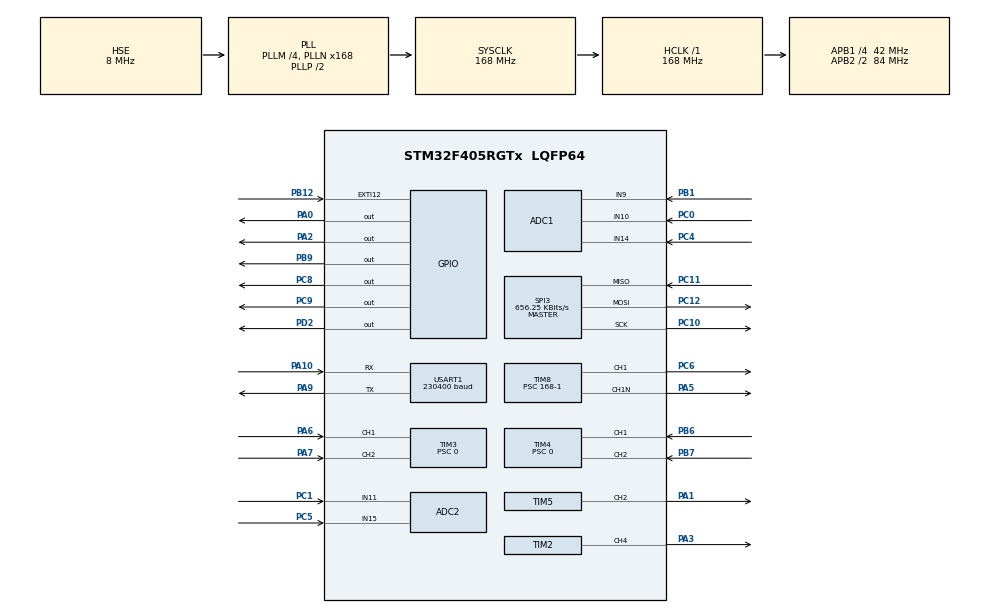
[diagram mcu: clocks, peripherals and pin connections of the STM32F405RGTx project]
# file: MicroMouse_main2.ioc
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ADC1.Channel-0\#ChannelRegularConversion=ADC_CHANNEL_10
ADC1.Channel-1\#ChannelRegularConversion=ADC_CHANNEL_14
ADC1.Channel-2\#ChannelRegularConversion=ADC_CHANNEL_9
ADC1.ClockPrescaler=ADC_CLOCK_SYNC_PCLK_DIV6
ADC1.ContinuousConvMode=ENABLE
ADC1.DMAContinuousRequests=ENABLE
ADC1.NbrOfConversion=3
ADC1.NbrOfConversionFlag=1
ADC1.Rank-0\#ChannelRegularConversion=1
ADC1.Rank-1\#ChannelRegularConversion=2
ADC1.Rank-2\#ChannelRegularConversion=3
ADC1.SamplingTime-0\#ChannelRegularConversion=ADC_SAMPLETIME_56CYCLES
ADC1.SamplingTime-1\#ChannelRegularConversion=ADC_SAMPLETIME_56CYCLES
ADC1.SamplingTime-2\#ChannelRegularConversion=ADC_SAMPLETIME_56CYCLES
ADC1.ScanConvMode=ENABLE
ADC1.master=1
ADC2.Channel-0\#ChannelRegularConversion=ADC_CHANNEL_11
ADC2.Channel-1\#ChannelRegularConversion=ADC_CHANNEL_15
ADC2.ClockPrescaler=ADC_CLOCK_SYNC_PCLK_DIV6
ADC2.ContinuousConvMode=ENABLE
ADC2.DMAContinuousRequests=ENABLE
ADC2.NbrOfConversion=2
ADC2.NbrOfConversionFlag=1
ADC2.Rank-0\#ChannelRegularConversion=1
ADC2.Rank-1\#ChannelRegularConversion=2
ADC2.SamplingTime-0\#ChannelRegularConversion=ADC_SAMPLETIME_56CYCLES
ADC2.SamplingTime-1\#ChannelRegularConversion=ADC_SAMPLETIME_56CYCLES
ADC2.ScanConvMode=ENABLE
Dma.ADC1.0.Direction=DMA_PERIPH_TO_MEMORY
Dma.ADC1.0.FIFOMode=DMA_FIFOMODE_DISABLE
Dma.ADC1.0.Instance=DMA2_Stream0
Dma.ADC1.0.MemDataAlignment=DMA_MDATAALIGN_WORD
Dma.ADC1.0.MemInc=DMA_MINC_ENABLE
Dma.ADC1.0.Mode=DMA_CIRCULAR
Dma.ADC1.0.PeriphDataAlignment=DMA_PDATAALIGN_WORD
Dma.ADC1.0.PeriphInc=DMA_PINC_DISABLE
Dma.ADC1.0.Priority=DMA_PRIORITY_LOW
Dma.ADC2.1.Direction=DMA_PERIPH_TO_MEMORY
Dma.ADC2.1.FIFOMode=DMA_FIFOMODE_DISABLE
Dma.ADC2.1.Instance=DMA2_Stream2
Dma.ADC2.1.MemDataAlignment=DMA_MDATAALIGN_WORD
Dma.ADC2.1.MemInc=DMA_MINC_ENABLE
Dma.ADC2.1.Mode=DMA_CIRCULAR
Dma.ADC2.1.PeriphDataAlignment=DMA_PDATAALIGN_WORD
Dma.ADC2.1.PeriphInc=DMA_PINC_DISABLE
Dma.ADC2.1.Priority=DMA_PRIORITY_LOW
Dma.Request0=ADC1
Dma.Request1=ADC2
Mcu.Family=STM32F4
Mcu.Name=STM32F405RGTx
Mcu.Package=LQFP64
NVIC.DMA2_Stream0_IRQn=true\:0\:0\:false\:false\:true\:false\:true\:true
NVIC.DMA2_Stream2_IRQn=true\:0\:0\:false\:false\:true\:false\:true\:true
NVIC.EXTI15_10_IRQn=true\:0\:0\:false\:false\:true\:true\:true\:true
NVIC.PriorityGroup=NVIC_PRIORITYGROUP_4
NVIC.TIM1_UP_TIM10_IRQn=true\:0\:0\:true\:false\:true\:true\:true\:true
NVIC.TIM8_UP_TIM13_IRQn=true\:1\:0\:true\:false\:true\:true\:true\:true
NVIC.USART1_IRQn=true\:0\:0\:false\:false\:true\:true\:true\:true
PA0-WKUP.Signal=GPIO_Output
PA1.Signal=S_TIM5_CH2
PA10.Mode=Asynchronous
PA10.Signal=USART1_RX
PA2.Signal=GPIO_Output
PA3.GPIO_Speed=GPIO_SPEED_FREQ_VERY_HIGH
PA3.Signal=S_TIM2_CH4
PA5.Mode=Output Compare1 CH1 CH1N
PA5.Signal=TIM8_CH1N
PA6.Signal=S_TIM3_CH1
PA7.Signal=S_TIM3_CH2
PA9.Mode=Asynchronous
PA9.Signal=USART1_TX
PB1.Signal=ADCx_IN9
PB12.Signal=GPXTI12
PB6.Signal=S_TIM4_CH1
PB7.Signal=S_TIM4_CH2
PB9.Signal=GPIO_Output
PC0.Signal=ADCx_IN10
PC1.Signal=ADCx_IN11
PC10.Mode=Full_Duplex_Master
PC10.Signal=SPI3_SCK
PC11.Mode=Full_Duplex_Master
PC11.Signal=SPI3_MISO
PC12.Mode=Full_Duplex_Master
PC12.Signal=SPI3_MOSI
PC4.Signal=ADCx_IN14
PC5.Signal=ADCx_IN15
PC6.Signal=S_TIM8_CH1
PC8.Signal=GPIO_Output
PC9.Signal=GPIO_Output
PD2.Signal=GPIO_Output
PH0-OSC_IN.Mode=HSE-External-Clock-Source
PH0-OSC_IN.Signal=RCC_OSC_IN
PH1-OSC_OUT.Mode=HSE-External-Clock-Source
PH1-OSC_OUT.Signal=RCC_OSC_OUT
ProjectManager.HeapSize=0x200
ProjectManager.StackSize=0x400
ProjectManager.TargetToolchain=Makefile
RCC.48MHZClocksFreq_Value=84000000
RCC.AHBFreq_Value=168000000
RCC.APB1CLKDivider=RCC_HCLK_DIV4
RCC.APB1Freq_Value=42000000
RCC.APB1TimFreq_Value=84000000
RCC.APB2CLKDivider=RCC_HCLK_DIV2
RCC.APB2Freq_Value=84000000
RCC.APB2TimFreq_Value=168000000
RCC.CortexFreq_Value=168000000
RCC.HCLKFreq_Value=168000000
RCC.HSE_VALUE=8000000
RCC.HSI_VALUE=16000000
RCC.LSE_VALUE=32768
RCC.PLLM=4
RCC.PLLN=168
RCC.PLLSourceVirtual=RCC_PLLSOURCE_HSE
RCC.SYSCLKFreq_VALUE=168000000
RCC.SYSCLKSource=RCC_SYSCLKSOURCE_PLLCLK
RCC.VCOOutputFreq_Value=336000000
SH.ADCx_IN10.0=ADC1_IN10,IN10
SH.ADCx_IN11.0=ADC2_IN11,IN11
SH.ADCx_IN14.0=ADC1_IN14,IN14
SH.ADCx_IN15.0=ADC2_IN15,IN15
SH.ADCx_IN9.0=ADC1_IN9,IN9
SH.S_TIM2_CH4.0=TIM2_CH4,PWM Generation4 CH4
SH.S_TIM3_CH1.0=TIM3_CH1,Encoder_Interface
SH.S_TIM3_CH2.0=TIM3_CH2,Encoder_Interface
SH.S_TIM4_CH1.0=TIM4_CH1,Encoder_Interface
SH.S_TIM4_CH2.0=TIM4_CH2,Encoder_Interface
SH.S_TIM5_CH2.0=TIM5_CH2,PWM Generation2 CH2
SH.S_TIM8_CH1.0=TIM8_CH1,Output Compare1 CH1 CH1N
SPI3.BaudRatePrescaler=SPI_BAUDRATEPRESCALER_64
SPI3.CLKPhase=SPI_PHASE_2EDGE
SPI3.CLKPolarity=SPI_POLARITY_HIGH
SPI3.CalculateBaudRate=656.25 KBits/s
SPI3.DataSize=SPI_DATASIZE_8BIT
SPI3.Direction=SPI_DIRECTION_2LINES
SPI3.Mode=SPI_MODE_MASTER
SPI3.VirtualType=VM_MASTER
TIM1.Period=1000-1
TIM1.Prescaler=168-1
TIM2.AutoReloadPreload=TIM_AUTORELOAD_PRELOAD_DISABLE
TIM2.Channel-PWM\ Generation4\ CH4=TIM_CHANNEL_4
TIM2.Period=840-1
TIM2.Prescaler=0
TIM2.Pulse-PWM\ Generation4\ CH4=0
TIM3.AutoReloadPreload=TIM_AUTORELOAD_PRELOAD_DISABLE
TIM3.CounterMode=TIM_COUNTERMODE_UP
TIM3.EncoderMode=TIM_ENCODERMODE_TI12
TIM3.Period=60000-1
TIM3.Prescaler=0
TIM4.EncoderMode=TIM_ENCODERMODE_TI12
TIM4.Period=60000-1
TIM4.Prescaler=0
TIM5.AutoReloadPreload=TIM_AUTORELOAD_PRELOAD_DISABLE
TIM5.Channel-PWM\ Generation2\ CH2=TIM_CHANNEL_2
TIM5.Period=840-1
TIM5.Prescaler=0
TIM8.AutoReloadPreload=TIM_AUTORELOAD_PRELOAD_ENABLE
TIM8.Channel-Output\ Compare1\ CH1\ CH1N=TIM_CHANNEL_1
TIM8.OC1Preload=ENABLE
TIM8.OCMode_1=TIM_OCMODE_TOGGLE
TIM8.Period=50-1
TIM8.Prescaler=168-1
TIM8.Pulse-Output\ Compare1\ CH1\ CH1N=25-1
USART1.BaudRate=230400
USART1.VirtualMode=VM_ASYNC
VP_TIM1_VS_ClockSourceINT.Mode=Internal
VP_TIM2_VS_ClockSourceINT.Mode=Internal
VP_TIM5_VS_ClockSourceINT.Mode=Internal
VP_TIM8_VS_ClockSourceINT.Mode=Internal
board=custom

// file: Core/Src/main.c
/* USER CODE BEGIN Header */
/* Variable rules */
// Grobal Variable  :  grobal, variable...
// Local Variable  :  Local, Variable...
// Macro  :  MACRO, DEIFNE...
/**
  ******************************************************************************
  * @file           : main.c
  * @brief          : Main program body
  ******************************************************************************
  * @attention
  *
  * <h2><center>&copy; Copyright (c) 2021 STMicroelectronics.
  * All rights reserved.</center></h2>
  *
  * This software component is licensed by ST under BSD 3-Clause license,
  * the "License"; You may not use this file except in compliance with the
  * License. You may obtain a copy of the License at:
  *                        opensource.org/licenses/BSD-3-Clause
  *
  ******************************************************************************
  */
/* USER CODE END Header */
#include "main.h"
#include "adc.h"
#include "dma.h"
#include "spi.h"
#include "tim.h"
#include "usart.h"
#include "gpio.h"

/* USER CODE BEGIN Includes */
#include "math.h"
#include "stdlib.h"
#include "stdio.h"
#include "stdbool.h"
#include "string.h"
#include "stdint.h"
#include "stm32f4xx_hal_tim.h"

#include "mouse_ADC.h"
#include "UI.h"
#include "Mode.h"
#include "PID_Control.h"
#include "MicroMouse.h"
#include "Running.h"

// #include "LED_Driver.h"
#include "IR_Emitter.h"
// #include "Motor_Driver.h"
// #include "ICM_20648.h"
// #include "IEH2_4096.h"
// #include "Convert.h"
// #include "Interrupt.h"
//#include <HPP/wrapper.hpp>
/* USER CODE END Includes */

void SystemClock_Config(void);
/* USER CODE BEGIN PFP */
extern void TIM5Init();
/* USER CODE END PFP */

/* USER CODE BEGIN 0 */

/*---- DEFINING FUNCTION ----*/
uint8_t buf[1]={0};
void HAL_UART_RxCpltCallback(UART_HandleTypeDef *huart){
  HAL_UART_Transmit_IT(&huart1, (uint8_t*)buf, sizeof(buf)/sizeof(buf[0]));
	HAL_UART_Receive_IT(&huart1, (uint8_t*)buf, sizeof(buf)/sizeof(buf[0]));
  buf[0] += 1;
}
/*---- DEFINING FUNCTION END----*/

/* USER CODE END 0 */

int main(void)
{

  /* MCU Configuration--------------------------------------------------------*/

  /* Reset of all peripherals, Initializes the Flash interface and the Systick. */
  HAL_Init();

  /* USER CODE BEGIN Init */

  MX_GPIO_Init();
  MX_DMA_Init();
  MX_ADC1_Init();
  MX_ADC2_Init();
  MX_USART1_UART_Init();

	ADCStart();
	MX_TIM3_Init();
	BatteryCheck( (int)adc1[2] );
	ADCStop();

	int8_t startup_mode;
	ModeSelect(0, 7, &startup_mode);
	Signal( startup_mode );
  //printf("adc1[2] : %lu\r\n ",adc1[2]);

  /* USER CODE END Init */

  /* Configure the system clock */
  SystemClock_Config();

  /* Initialize all configured peripherals */
  MX_GPIO_Init();
  MX_DMA_Init();
  MX_ADC1_Init();
  MX_ADC2_Init();
  MX_TIM3_Init();
  MX_TIM2_Init();
  MX_SPI3_Init();
  MX_USART1_UART_Init();
  MX_TIM5_Init();
  MX_TIM4_Init();
  MX_TIM8_Init();
  MX_TIM1_Init();
  /* USER CODE BEGIN 2 */
  HAL_UART_Receive_IT(&huart1, (uint8_t*)buf, sizeof(buf)/sizeof(buf[0]));
  /* USER CODE END 2 */

  /* Infinite loop */
  /* USER CODE BEGIN WHILE */

//  PIDSetGain(L_VELO_PID, 14.6, 2800,0.001); //今まで
//  PIDSetGain(R_VELO_PID, 14.6, 2800,0.001);

#if 0// 20kHzのゲイン
  PIDSetGain(L_VELO_PID, 16.35,5000,0);
  PIDSetGain(R_VELO_PID, 16.35,5000,0);

  PIDSetGain(A_VELO_PID, 37.5, 80, 0); //42 //P=14.6
  PIDSetGain(F_WALL_PID, 14.6*2.5,0, 0);
  PIDSetGain(D_WALL_PID, 6,1,0);//8,2,0);//8, 4,0);//6, 0,0);
  PIDSetGain(L_WALL_PID, 12,1,0);//14,4,0);//14,8,0);//12, 0,0);
  PIDSetGain(R_WALL_PID, 12,1,0);//14,4,0);//14,8,0);//12, 0,0);
#else
  //100kHzのゲイン:カウンタ840
  PIDSetGain(L_VELO_PID, 3.3,800,0);
  PIDSetGain(R_VELO_PID, 3.3,800,0);

  PIDSetGain(A_VELO_PID, 7.7, 18, 0); //42 //P=14.6
  PIDSetGain(F_WALL_PID, 14.6*2.5,0, 0);
  PIDSetGain(D_WALL_PID, 6,1,0);//8,2,0);//8, 4,0);//6, 0,0);
  PIDSetGain(L_WALL_PID, 12,1,0);//14,4,0);//14,8,0);//12, 0,0);
  PIDSetGain(R_WALL_PID, 12,1,0);//14,4,0);//14,8,0);//12, 0,0);

  // システム同定から得たゲイン
  // 制御周期とか合ってないのでは?
  // PIDSetGain(A_VELO_PID, 3.2113, 38.4531, 0.00046009); //42 //P=14.6

  #endif

  // while(1){
  //   printf("ok! buf: %u\r\n", buf[0]);
  //   HAL_Delay(1000);
  // }
  while (1)
  {
	  switch( startup_mode )
	  {
	  case PARAMETERSETTING:
		//wall_flash_print();
		  GainSetting(1);
		  break;
	  case SECOND_EXPLORE:
      // SecondExplore();
		  break;
	  case GAINTEST:
		  GainTest();
		  break;
	  case DEBUGGER:
		  Debug();
		  break;
	  case FASTEST_RUN:
//		  FlashReadTest();
		  FastestRun();
		  break;
	  case IMU_TEST:
		  TestIMU();
		  break;
	  case EXPLORE:
//		  FlashWriteTe87y st();
		  Explore();
		  break;
	  case WRITINGFREE:
		  WritingFree();
		  break;
	  default :
		  break;
	  }
	  printf("モード選択\r\n");
		ModeSelect(0, 7, &startup_mode);
		Signal( startup_mode );
    /* USER CODE END WHILE */

  }
}

void SystemClock_Config(void)
{
  RCC_OscInitTypeDef RCC_OscInitStruct = {0};
  RCC_ClkInitTypeDef RCC_ClkInitStruct = {0};

  /** Configure the main internal regulator output voltage
  */
  __HAL_RCC_PWR_CLK_ENABLE();
  __HAL_PWR_VOLTAGESCALING_CONFIG(PWR_REGULATOR_VOLTAGE_SCALE1);

  /** Initializes the RCC Oscillators according to the specified parameters
  * in the RCC_OscInitTypeDef structure.
  */
  RCC_OscInitStruct.OscillatorType = RCC_OSCILLATORTYPE_HSE;
  RCC_OscInitStruct.HSEState = RCC_HSE_BYPASS;
  RCC_OscInitStruct.PLL.PLLState = RCC_PLL_ON;
  RCC_OscInitStruct.PLL.PLLSource = RCC_PLLSOURCE_HSE;
  RCC_OscInitStruct.PLL.PLLM = 4;
  RCC_OscInitStruct.PLL.PLLN = 168;
  RCC_OscInitStruct.PLL.PLLP = RCC_PLLP_DIV2;
  RCC_OscInitStruct.PLL.PLLQ = 4;
  if (HAL_RCC_OscConfig(&RCC_OscInitStruct) != HAL_OK)
  {
    Error_Handler();
  }

  /** Initializes the CPU, AHB and APB buses clocks
  */
  RCC_ClkInitStruct.ClockType = RCC_CLOCKTYPE_HCLK|RCC_CLOCKTYPE_SYSCLK
                              |RCC_CLOCKTYPE_PCLK1|RCC_CLOCKTYPE_PCLK2;
  RCC_ClkInitStruct.SYSCLKSource = RCC_SYSCLKSOURCE_PLLCLK;
  RCC_ClkInitStruct.AHBCLKDivider = RCC_SYSCLK_DIV1;
  RCC_ClkInitStruct.APB1CLKDivider = RCC_HCLK_DIV4;
  RCC_ClkInitStruct.APB2CLKDivider = RCC_HCLK_DIV2;

  if (HAL_RCC_ClockConfig(&RCC_ClkInitStruct, FLASH_LATENCY_5) != HAL_OK)
  {
    Error_Handler();
  }
}

/* USER CODE BEGIN 4 */
#ifdef __GNUC__
	#define PUTCHAR_PROTOTYPE int __io_putchar(int ch)
	#define GETCHAR_PROTOTYPE int __io_getchar(void)
#else
	#define PUTCHAR_PROTOTYPE int fputc(int ch, FILE *f)
	#define GETCHAR_PROTOTYPE int f getc(FILE* f)
#endif /*__GNUC__*/
PUTCHAR_PROTOTYPE {
	HAL_UART_Transmit(&huart1, (uint8_t*)&ch, 1, 0xFFFF);
	return ch;
}
int __io_getchar(void) {
HAL_StatusTypeDef Status = HAL_BUSY;
uint8_t Data;

while(Status != HAL_OK)
{
Status = HAL_UART_Receive(&huart1, &Data, sizeof(Data), 10);
//if(Status == HAL_ERROR)
//{
//	return 0;
//	break;
//}
}
return(Data);
}
/* USER CODE END 4 */

void Error_Handler(void)
{
  __disable_irq();
  while (1)
  {
  }
}
